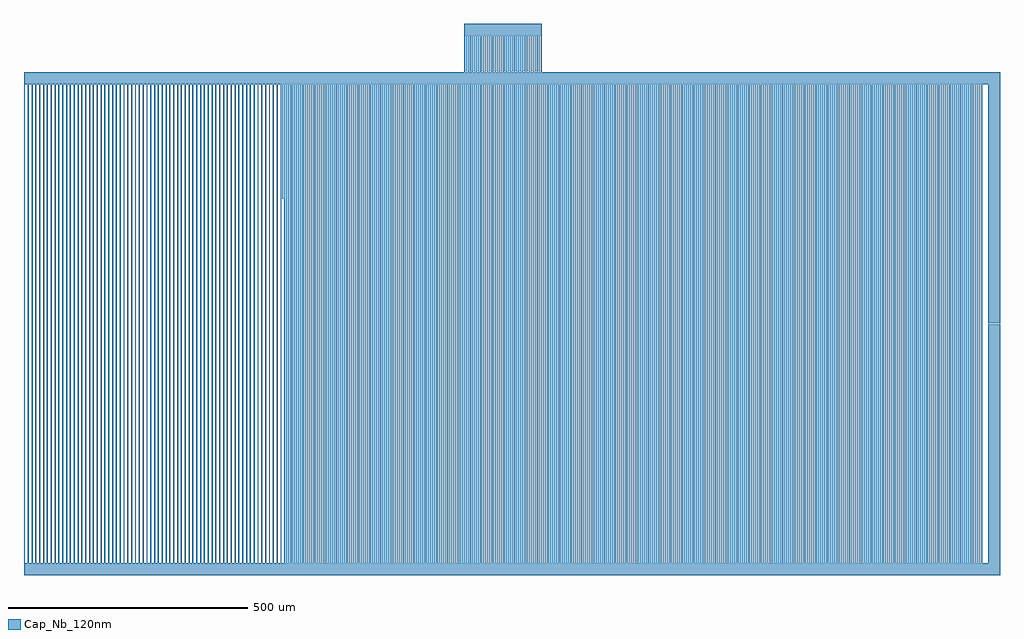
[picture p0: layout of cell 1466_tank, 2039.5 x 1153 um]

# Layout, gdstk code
import gdstk
lib = gdstk.Library(unit=1e-6, precision=1e-09)
def P(c, l, *ps):  # polygons
    for p in ps: c.add(gdstk.Polygon(p, *l))
Cap_Nb_120nm = (6, 0)

c_1466_tank = lib.new_cell('1466_tank')
P(c_1466_tank, Cap_Nb_120nm, [(-146,4476.75),(-146,4551.75),(-150,4551.75),(-150,4576.75),(12,4576.75),(12,4551.75),(8,4551.75),(8,4476.75),(6,4476.75),(6,4551.75),(0,4551.75),(0,4476.75),(-2,4476.75),(-2,4551.75),(-8,4551.75),(-8,4476.75),(-10,4476.75),(-10,4551.75),(-16,4551.75),(-16,4476.75),(-18,4476.75),(-18,4551.75),(-24,4551.75),(-24,4476.75),(-26,4476.75),(-26,4551.75),(-32,4551.75),(-32,4476.75),(-34,4476.75),(-34,4551.75),(-40,4551.75),(-40,4476.75),(-42,4476.75),(-42,4551.75),(-48,4551.75),(-48,4476.75),(-50,4476.75),(-50,4551.75),(-56,4551.75),(-56,4476.75),(-58,4476.75),(-58,4551.75),(-64,4551.75),(-64,4476.75),(-66,4476.75),(-66,4551.75),(-72,4551.75),(-72,4476.75),(-74,4476.75),(-74,4551.75),(-80,4551.75),(-80,4476.75),(-82,4476.75),(-82,4551.75),(-88,4551.75),(-88,4476.75),(-90,4476.75),(-90,4551.75),(-96,4551.75),(-96,4476.75),(-98,4476.75),(-98,4551.75),(-104,4551.75),(-104,4476.75),(-106,4476.75),(-106,4551.75),(-112,4551.75),(-112,4476.75),(-114,4476.75),(-114,4551.75),(-120,4551.75),(-120,4476.75),(-122,4476.75),(-122,4551.75),(-128,4551.75),(-128,4476.75),(-130,4476.75),(-130,4551.75),(-136,4551.75),(-136,4476.75),(-138,4476.75),(-138,4551.75),(-144,4551.75),(-144,4476.75)],
  [(-522,3450.25),(-522,4450.25),(-528,4450.25),(-528,4211.139),(-530,4211.139),(-530,4450.25),(-1070,4450.25),(-1070,4475.25),(-330,4475.25),(-330,4450.25),(-336,4450.25),(-336,3450.25),(-338,3450.25),(-338,4450.25),(-344,4450.25),(-344,3450.25),(-346,3450.25),(-346,4450.25),(-352,4450.25),(-352,3450.25),(-354,3450.25),(-354,4450.25),(-360,4450.25),(-360,3450.25),(-362,3450.25),(-362,4450.25),(-368,4450.25),(-368,3450.25),(-370,3450.25),(-370,4450.25),(-376,4450.25),(-376,3450.25),(-378,3450.25),(-378,4450.25),(-384,4450.25),(-384,3450.25),(-386,3450.25),(-386,4450.25),(-392,4450.25),(-392,3450.25),(-394,3450.25),(-394,4450.25),(-400,4450.25),(-400,3450.25),(-402,3450.25),(-402,4450.25),(-408,4450.25),(-408,3450.25),(-410,3450.25),(-410,4450.25),(-416,4450.25),(-416,3450.25),(-418,3450.25),(-418,4450.25),(-424,4450.25),(-424,3450.25),(-426,3450.25),(-426,4450.25),(-432,4450.25),(-432,3450.25),(-434,3450.25),(-434,4450.25),(-440,4450.25),(-440,3450.25),(-442,3450.25),(-442,4450.25),(-448,4450.25),(-448,3450.25),(-450,3450.25),(-450,4450.25),(-456,4450.25),(-456,3450.25),(-458,3450.25),(-458,4450.25),(-464,4450.25),(-464,3450.25),(-466,3450.25),(-466,4450.25),(-472,4450.25),(-472,3450.25),(-474,3450.25),(-474,4450.25),(-480,4450.25),(-480,3450.25),(-482,3450.25),(-482,4450.25),(-488,4450.25),(-488,3450.25),(-490,3450.25),(-490,4450.25),(-496,4450.25),(-496,3450.25),(-498,3450.25),(-498,4450.25),(-504,4450.25),(-504,3450.25),(-506,3450.25),(-506,4450.25),(-512,4450.25),(-512,3450.25),(-514,3450.25),(-514,4450.25),(-520,4450.25),(-520,3450.25)],
  [(-330,3450.25),(-330,4475.25),(-150,4475.25),(-150,4550.25),(-148,4550.25),(-148,4475.25),(-142,4475.25),(-142,4550.25),(-140,4550.25),(-140,4450.25),(-144,4450.25),(-144,3450.25),(-146,3450.25),(-146,4450.25),(-152,4450.25),(-152,3450.25),(-154,3450.25),(-154,4450.25),(-160,4450.25),(-160,3450.25),(-162,3450.25),(-162,4450.25),(-168,4450.25),(-168,3450.25),(-170,3450.25),(-170,4450.25),(-176,4450.25),(-176,3450.25),(-178,3450.25),(-178,4450.25),(-184,4450.25),(-184,3450.25),(-186,3450.25),(-186,4450.25),(-192,4450.25),(-192,3450.25),(-194,3450.25),(-194,4450.25),(-200,4450.25),(-200,3450.25),(-202,3450.25),(-202,4450.25),(-208,4450.25),(-208,3450.25),(-210,3450.25),(-210,4450.25),(-216,4450.25),(-216,3450.25),(-218,3450.25),(-218,4450.25),(-224,4450.25),(-224,3450.25),(-226,3450.25),(-226,4450.25),(-232,4450.25),(-232,3450.25),(-234,3450.25),(-234,4450.25),(-240,4450.25),(-240,3450.25),(-242,3450.25),(-242,4450.25),(-248,4450.25),(-248,3450.25),(-250,3450.25),(-250,4450.25),(-256,4450.25),(-256,3450.25),(-258,3450.25),(-258,4450.25),(-264,4450.25),(-264,3450.25),(-266,3450.25),(-266,4450.25),(-272,4450.25),(-272,3450.25),(-274,3450.25),(-274,4450.25),(-280,4450.25),(-280,3450.25),(-282,3450.25),(-282,4450.25),(-288,4450.25),(-288,3450.25),(-290,3450.25),(-290,4450.25),(-296,4450.25),(-296,3450.25),(-298,3450.25),(-298,4450.25),(-304,4450.25),(-304,3450.25),(-306,3450.25),(-306,4450.25),(-312,4450.25),(-312,3450.25),(-314,3450.25),(-314,4450.25),(-320,4450.25),(-320,3450.25),(-322,3450.25),(-322,4450.25),(-328,4450.25),(-328,3450.25)],
  [(-138,3450.25),(-138,4450.25),(-140,4450.25),(-140,4475.25),(-134,4475.25),(-134,4550.25),(-132,4550.25),(-132,4475.25),(-126,4475.25),(-126,4550.25),(-124,4550.25),(-124,4475.25),(-118,4475.25),(-118,4550.25),(-116,4550.25),(-116,4475.25),(-110,4475.25),(-110,4550.25),(-108,4550.25),(-108,4475.25),(-102,4475.25),(-102,4550.25),(-100,4550.25),(-100,4475.25),(-94,4475.25),(-94,4550.25),(-92,4550.25),(-92,4475.25),(-86,4475.25),(-86,4550.25),(-84,4550.25),(-84,4475.25),(-78,4475.25),(-78,4550.25),(-76,4550.25),(-76,4475.25),(-70,4475.25),(-70,4550.25),(-68,4550.25),(-68,4475.25),(-62,4475.25),(-62,4550.25),(-60,4550.25),(-60,4475.25),(-54,4475.25),(-54,4550.25),(-52,4550.25),(-52,4475.25),(-46,4475.25),(-46,4550.25),(-44,4550.25),(-44,4475.25),(-38,4475.25),(-38,4450.25),(-40,4450.25),(-40,3450.25),(-42,3450.25),(-42,4450.25),(-48,4450.25),(-48,3450.25),(-50,3450.25),(-50,4450.25),(-56,4450.25),(-56,3450.25),(-58,3450.25),(-58,4450.25),(-64,4450.25),(-64,3450.25),(-66,3450.25),(-66,4450.25),(-72,4450.25),(-72,3450.25),(-74,3450.25),(-74,4450.25),(-80,4450.25),(-80,3450.25),(-82,3450.25),(-82,4450.25),(-88,4450.25),(-88,3450.25),(-90,3450.25),(-90,4450.25),(-96,4450.25),(-96,3450.25),(-98,3450.25),(-98,4450.25),(-104,4450.25),(-104,3450.25),(-106,3450.25),(-106,4450.25),(-112,4450.25),(-112,3450.25),(-114,3450.25),(-114,4450.25),(-120,4450.25),(-120,3450.25),(-122,3450.25),(-122,4450.25),(-128,4450.25),(-128,3450.25),(-130,3450.25),(-130,4450.25),(-136,4450.25),(-136,3450.25)],
  [(-34,3450.25),(-34,4450.25),(-38,4450.25),(-38,4550.25),(-36,4550.25),(-36,4475.25),(-30,4475.25),(-30,4550.25),(-28,4550.25),(-28,4475.25),(-22,4475.25),(-22,4550.25),(-20,4550.25),(-20,4475.25),(-14,4475.25),(-14,4550.25),(-12,4550.25),(-12,4475.25),(-6,4475.25),(-6,4550.25),(-4,4550.25),(-4,4475.25),(2,4475.25),(2,4550.25),(4,4550.25),(4,4475.25),(10,4475.25),(10,4550.25),(12,4550.25),(12,4475.25),(118,4475.25),(118,4450.25),(112,4450.25),(112,3450.25),(110,3450.25),(110,4450.25),(104,4450.25),(104,3450.25),(102,3450.25),(102,4450.25),(96,4450.25),(96,3450.25),(94,3450.25),(94,4450.25),(88,4450.25),(88,3450.25),(86,3450.25),(86,4450.25),(80,4450.25),(80,3450.25),(78,3450.25),(78,4450.25),(72,4450.25),(72,3450.25),(70,3450.25),(70,4450.25),(64,4450.25),(64,3450.25),(62,3450.25),(62,4450.25),(56,4450.25),(56,3450.25),(54,3450.25),(54,4450.25),(48,4450.25),(48,3450.25),(46,3450.25),(46,4450.25),(40,4450.25),(40,3450.25),(38,3450.25),(38,4450.25),(32,4450.25),(32,3450.25),(30,3450.25),(30,4450.25),(24,4450.25),(24,3450.25),(22,3450.25),(22,4450.25),(16,4450.25),(16,3450.25),(14,3450.25),(14,4450.25),(8,4450.25),(8,3450.25),(6,3450.25),(6,4450.25),(0,4450.25),(0,3450.25),(-2,3450.25),(-2,4450.25),(-8,4450.25),(-8,3450.25),(-10,3450.25),(-10,4450.25),(-16,4450.25),(-16,3450.25),(-18,3450.25),(-18,4450.25),(-24,4450.25),(-24,3450.25),(-26,3450.25),(-26,4450.25),(-32,4450.25),(-32,3450.25)],
  [(118,3450.25),(118,4475.25),(320,4475.25),(320,3450.25),(318,3450.25),(318,4450.25),(312,4450.25),(312,3450.25),(310,3450.25),(310,4450.25),(304,4450.25),(304,3450.25),(302,3450.25),(302,4450.25),(296,4450.25),(296,3450.25),(294,3450.25),(294,4450.25),(288,4450.25),(288,3450.25),(286,3450.25),(286,4450.25),(280,4450.25),(280,3450.25),(278,3450.25),(278,4450.25),(272,4450.25),(272,3450.25),(270,3450.25),(270,4450.25),(264,4450.25),(264,3450.25),(262,3450.25),(262,4450.25),(256,4450.25),(256,3450.25),(254,3450.25),(254,4450.25),(248,4450.25),(248,3450.25),(246,3450.25),(246,4450.25),(240,4450.25),(240,3450.25),(238,3450.25),(238,4450.25),(232,4450.25),(232,3450.25),(230,3450.25),(230,4450.25),(224,4450.25),(224,3450.25),(222,3450.25),(222,4450.25),(216,4450.25),(216,3450.25),(214,3450.25),(214,4450.25),(208,4450.25),(208,3450.25),(206,3450.25),(206,4450.25),(200,4450.25),(200,3450.25),(198,3450.25),(198,4450.25),(192,4450.25),(192,3450.25),(190,3450.25),(190,4450.25),(184,4450.25),(184,3450.25),(182,3450.25),(182,4450.25),(176,4450.25),(176,3450.25),(174,3450.25),(174,4450.25),(168,4450.25),(168,3450.25),(166,3450.25),(166,4450.25),(160,4450.25),(160,3450.25),(158,3450.25),(158,4450.25),(152,4450.25),(152,3450.25),(150,3450.25),(150,4450.25),(144,4450.25),(144,3450.25),(142,3450.25),(142,4450.25),(136,4450.25),(136,3450.25),(134,3450.25),(134,4450.25),(128,4450.25),(128,3450.25),(126,3450.25),(126,4450.25),(120,4450.25),(120,3450.25)],
  [(326,3450.25),(326,4450.25),(320,4450.25),(320,4475.25),(526,4475.25),(526,4450.25),(520,4450.25),(520,3450.25),(518,3450.25),(518,4450.25),(512,4450.25),(512,3450.25),(510,3450.25),(510,4450.25),(504,4450.25),(504,3450.25),(502,3450.25),(502,4450.25),(496,4450.25),(496,3450.25),(494,3450.25),(494,4450.25),(488,4450.25),(488,3450.25),(486,3450.25),(486,4450.25),(480,4450.25),(480,3450.25),(478,3450.25),(478,4450.25),(472,4450.25),(472,3450.25),(470,3450.25),(470,4450.25),(464,4450.25),(464,3450.25),(462,3450.25),(462,4450.25),(456,4450.25),(456,3450.25),(454,3450.25),(454,4450.25),(448,4450.25),(448,3450.25),(446,3450.25),(446,4450.25),(440,4450.25),(440,3450.25),(438,3450.25),(438,4450.25),(432,4450.25),(432,3450.25),(430,3450.25),(430,4450.25),(424,4450.25),(424,3450.25),(422,3450.25),(422,4450.25),(416,4450.25),(416,3450.25),(414,3450.25),(414,4450.25),(408,4450.25),(408,3450.25),(406,3450.25),(406,4450.25),(400,4450.25),(400,3450.25),(398,3450.25),(398,4450.25),(392,4450.25),(392,3450.25),(390,3450.25),(390,4450.25),(384,4450.25),(384,3450.25),(382,3450.25),(382,4450.25),(376,4450.25),(376,3450.25),(374,3450.25),(374,4450.25),(368,4450.25),(368,3450.25),(366,3450.25),(366,4450.25),(360,4450.25),(360,3450.25),(358,3450.25),(358,4450.25),(352,4450.25),(352,3450.25),(350,3450.25),(350,4450.25),(344,4450.25),(344,3450.25),(342,3450.25),(342,4450.25),(336,4450.25),(336,3450.25),(334,3450.25),(334,4450.25),(328,4450.25),(328,3450.25)],
  [(526,3450.25),(526,4475.25),(728,4475.25),(728,3450.25),(726,3450.25),(726,4450.25),(720,4450.25),(720,3450.25),(718,3450.25),(718,4450.25),(712,4450.25),(712,3450.25),(710,3450.25),(710,4450.25),(704,4450.25),(704,3450.25),(702,3450.25),(702,4450.25),(696,4450.25),(696,3450.25),(694,3450.25),(694,4450.25),(688,4450.25),(688,3450.25),(686,3450.25),(686,4450.25),(680,4450.25),(680,3450.25),(678,3450.25),(678,4450.25),(672,4450.25),(672,3450.25),(670,3450.25),(670,4450.25),(664,4450.25),(664,3450.25),(662,3450.25),(662,4450.25),(656,4450.25),(656,3450.25),(654,3450.25),(654,4450.25),(648,4450.25),(648,3450.25),(646,3450.25),(646,4450.25),(640,4450.25),(640,3450.25),(638,3450.25),(638,4450.25),(632,4450.25),(632,3450.25),(630,3450.25),(630,4450.25),(624,4450.25),(624,3450.25),(622,3450.25),(622,4450.25),(616,4450.25),(616,3450.25),(614,3450.25),(614,4450.25),(608,4450.25),(608,3450.25),(606,3450.25),(606,4450.25),(600,4450.25),(600,3450.25),(598,3450.25),(598,4450.25),(592,4450.25),(592,3450.25),(590,3450.25),(590,4450.25),(584,4450.25),(584,3450.25),(582,3450.25),(582,4450.25),(576,4450.25),(576,3450.25),(574,3450.25),(574,4450.25),(568,4450.25),(568,3450.25),(566,3450.25),(566,4450.25),(560,4450.25),(560,3450.25),(558,3450.25),(558,4450.25),(552,4450.25),(552,3450.25),(550,3450.25),(550,4450.25),(544,4450.25),(544,3450.25),(542,3450.25),(542,4450.25),(536,4450.25),(536,3450.25),(534,3450.25),(534,4450.25),(528,4450.25),(528,3450.25)],
  [(734,3450.25),(734,4450.25),(728,4450.25),(728,4475.25),(969.5,4475.25),(969.5,3950.5),(944.5,3950.5),(944.5,4450.25),(928,4450.25),(928,3450.25),(926,3450.25),(926,4450.25),(920,4450.25),(920,3450.25),(918,3450.25),(918,4450.25),(912,4450.25),(912,3450.25),(910,3450.25),(910,4450.25),(904,4450.25),(904,3450.25),(902,3450.25),(902,4450.25),(896,4450.25),(896,3450.25),(894,3450.25),(894,4450.25),(888,4450.25),(888,3450.25),(886,3450.25),(886,4450.25),(880,4450.25),(880,3450.25),(878,3450.25),(878,4450.25),(872,4450.25),(872,3450.25),(870,3450.25),(870,4450.25),(864,4450.25),(864,3450.25),(862,3450.25),(862,4450.25),(856,4450.25),(856,3450.25),(854,3450.25),(854,4450.25),(848,4450.25),(848,3450.25),(846,3450.25),(846,4450.25),(840,4450.25),(840,3450.25),(838,3450.25),(838,4450.25),(832,4450.25),(832,3450.25),(830,3450.25),(830,4450.25),(824,4450.25),(824,3450.25),(822,3450.25),(822,4450.25),(816,4450.25),(816,3450.25),(814,3450.25),(814,4450.25),(808,4450.25),(808,3450.25),(806,3450.25),(806,4450.25),(800,4450.25),(800,3450.25),(798,3450.25),(798,4450.25),(792,4450.25),(792,3450.25),(790,3450.25),(790,4450.25),(784,4450.25),(784,3450.25),(782,3450.25),(782,4450.25),(776,4450.25),(776,3450.25),(774,3450.25),(774,4450.25),(768,4450.25),(768,3450.25),(766,3450.25),(766,4450.25),(760,4450.25),(760,3450.25),(758,3450.25),(758,4450.25),(752,4450.25),(752,3450.25),(750,3450.25),(750,4450.25),(744,4450.25),(744,3450.25),(742,3450.25),(742,4450.25),(736,4450.25),(736,3450.25)],
  [(-1070,3423.75),(-1070,4448.75),(-1068,4448.75),(-1068,3448.75),(-1062,3448.75),(-1062,4448.75),(-1060,4448.75),(-1060,3448.75),(-1054,3448.75),(-1054,4448.75),(-1052,4448.75),(-1052,3448.75),(-1046,3448.75),(-1046,4448.75),(-1044,4448.75),(-1044,3448.75),(-1038,3448.75),(-1038,4448.75),(-1036,4448.75),(-1036,3448.75),(-1030,3448.75),(-1030,4448.75),(-1028,4448.75),(-1028,3448.75),(-1022,3448.75),(-1022,4448.75),(-1020,4448.75),(-1020,3448.75),(-1014,3448.75),(-1014,4448.75),(-1012,4448.75),(-1012,3448.75),(-1006,3448.75),(-1006,4448.75),(-1004,4448.75),(-1004,3448.75),(-998,3448.75),(-998,4448.75),(-996,4448.75),(-996,3448.75),(-990,3448.75),(-990,4448.75),(-988,4448.75),(-988,3448.75),(-982,3448.75),(-982,4448.75),(-980,4448.75),(-980,3448.75),(-974,3448.75),(-974,4448.75),(-972,4448.75),(-972,3448.75),(-966,3448.75),(-966,4448.75),(-964,4448.75),(-964,3448.75),(-958,3448.75),(-958,4448.75),(-956,4448.75),(-956,3448.75),(-950,3448.75),(-950,4448.75),(-948,4448.75),(-948,3448.75),(-942,3448.75),(-942,4448.75),(-940,4448.75),(-940,3448.75),(-934,3448.75),(-934,4448.75),(-932,4448.75),(-932,3448.75),(-926,3448.75),(-926,4448.75),(-924,4448.75),(-924,3448.75),(-918,3448.75),(-918,4448.75),(-916,4448.75),(-916,3448.75),(-910,3448.75),(-910,4448.75),(-908,4448.75),(-908,3448.75),(-902,3448.75),(-902,4448.75),(-900,4448.75),(-900,3448.75),(-894,3448.75),(-894,4448.75),(-892,4448.75),(-892,3448.75),(-886,3448.75),(-886,4448.75),(-884,4448.75),(-884,3448.75),(-878,3448.75),(-878,4448.75),(-876,4448.75),(-876,3448.75),(-870,3448.75),(-870,4448.75),(-868,4448.75),(-868,3448.75),(-862,3448.75),(-862,4448.75),(-860,4448.75),(-860,3448.75),(-854,3448.75),(-854,4448.75),(-852,4448.75),(-852,3448.75),(-846,3448.75),(-846,4448.75),(-844,4448.75),(-844,3448.75),(-838,3448.75),(-838,4448.75),(-836,4448.75),(-836,3448.75),(-830,3448.75),(-830,4448.75),(-828,4448.75),(-828,3448.75),(-822,3448.75),(-822,3423.75)],
  [(-822,3423.75),(-822,4448.75),(-820,4448.75),(-820,3448.75),(-814,3448.75),(-814,4448.75),(-812,4448.75),(-812,3448.75),(-806,3448.75),(-806,4448.75),(-804,4448.75),(-804,3448.75),(-798,3448.75),(-798,4448.75),(-796,4448.75),(-796,3448.75),(-790,3448.75),(-790,4448.75),(-788,4448.75),(-788,3448.75),(-782,3448.75),(-782,4448.75),(-780,4448.75),(-780,3448.75),(-774,3448.75),(-774,4448.75),(-772,4448.75),(-772,3448.75),(-766,3448.75),(-766,4448.75),(-764,4448.75),(-764,3448.75),(-758,3448.75),(-758,4448.75),(-756,4448.75),(-756,3448.75),(-750,3448.75),(-750,4448.75),(-748,4448.75),(-748,3448.75),(-742,3448.75),(-742,4448.75),(-740,4448.75),(-740,3448.75),(-734,3448.75),(-734,4448.75),(-732,4448.75),(-732,3448.75),(-726,3448.75),(-726,4448.75),(-724,4448.75),(-724,3448.75),(-718,3448.75),(-718,4448.75),(-716,4448.75),(-716,3448.75),(-710,3448.75),(-710,4448.75),(-708,4448.75),(-708,3448.75),(-702,3448.75),(-702,4448.75),(-700,4448.75),(-700,3448.75),(-694,3448.75),(-694,4448.75),(-692,4448.75),(-692,3448.75),(-686,3448.75),(-686,4448.75),(-684,4448.75),(-684,3448.75),(-678,3448.75),(-678,4448.75),(-676,4448.75),(-676,3448.75),(-670,3448.75),(-670,4448.75),(-668,4448.75),(-668,3448.75),(-662,3448.75),(-662,4448.75),(-660,4448.75),(-660,3448.75),(-654,3448.75),(-654,4448.75),(-652,4448.75),(-652,3448.75),(-646,3448.75),(-646,4448.75),(-644,4448.75),(-644,3448.75),(-638,3448.75),(-638,4448.75),(-636,4448.75),(-636,3448.75),(-630,3448.75),(-630,4448.75),(-628,4448.75),(-628,3448.75),(-622,3448.75),(-622,4448.75),(-620,4448.75),(-620,3448.75),(-614,3448.75),(-614,4448.75),(-612,4448.75),(-612,3448.75),(-606,3448.75),(-606,4448.75),(-604,4448.75),(-604,3448.75),(-598,3448.75),(-598,4448.75),(-596,4448.75),(-596,3448.75),(-590,3448.75),(-590,4448.75),(-588,4448.75),(-588,3448.75),(-582,3448.75),(-582,4448.75),(-580,4448.75),(-580,3448.75),(-574,3448.75),(-574,4448.75),(-572,4448.75),(-572,3423.75)],
  [(-572,3423.75),(-572,3448.75),(-566,3448.75),(-566,4448.75),(-564,4448.75),(-564,3448.75),(-558,3448.75),(-558,4448.75),(-556,4448.75),(-556,3448.75),(-550,3448.75),(-550,4448.75),(-548,4448.75),(-548,3448.75),(-542,3448.75),(-542,4448.75),(-540,4448.75),(-540,3448.75),(-534,3448.75),(-534,4448.75),(-532,4448.75),(-532,3448.75),(-526,3448.75),(-526,4448.75),(-524,4448.75),(-524,3448.75),(-518,3448.75),(-518,4448.75),(-516,4448.75),(-516,3448.75),(-510,3448.75),(-510,4448.75),(-508,4448.75),(-508,3448.75),(-502,3448.75),(-502,4448.75),(-500,4448.75),(-500,3448.75),(-494,3448.75),(-494,4448.75),(-492,4448.75),(-492,3448.75),(-486,3448.75),(-486,4448.75),(-484,4448.75),(-484,3448.75),(-478,3448.75),(-478,4448.75),(-476,4448.75),(-476,3448.75),(-470,3448.75),(-470,4448.75),(-468,4448.75),(-468,3448.75),(-462,3448.75),(-462,4448.75),(-460,4448.75),(-460,3448.75),(-454,3448.75),(-454,4448.75),(-452,4448.75),(-452,3448.75),(-446,3448.75),(-446,4448.75),(-444,4448.75),(-444,3448.75),(-438,3448.75),(-438,4448.75),(-436,4448.75),(-436,3448.75),(-430,3448.75),(-430,4448.75),(-428,4448.75),(-428,3448.75),(-422,3448.75),(-422,4448.75),(-420,4448.75),(-420,3448.75),(-414,3448.75),(-414,4448.75),(-412,4448.75),(-412,3448.75),(-406,3448.75),(-406,4448.75),(-404,4448.75),(-404,3448.75),(-398,3448.75),(-398,4448.75),(-396,4448.75),(-396,3448.75),(-390,3448.75),(-390,4448.75),(-388,4448.75),(-388,3448.75),(-382,3448.75),(-382,4448.75),(-380,4448.75),(-380,3448.75),(-374,3448.75),(-374,4448.75),(-372,4448.75),(-372,3448.75),(-366,3448.75),(-366,4448.75),(-364,4448.75),(-364,3448.75),(-358,3448.75),(-358,4448.75),(-356,4448.75),(-356,3448.75),(-350,3448.75),(-350,4448.75),(-348,4448.75),(-348,3448.75),(-342,3448.75),(-342,4448.75),(-340,4448.75),(-340,3448.75),(-334,3448.75),(-334,4448.75),(-332,4448.75),(-332,3448.75),(-326,3448.75),(-326,4448.75),(-324,4448.75),(-324,3448.75),(-318,3448.75),(-318,3423.75)],
  [(-318,3423.75),(-318,4448.75),(-316,4448.75),(-316,3448.75),(-310,3448.75),(-310,4448.75),(-308,4448.75),(-308,3448.75),(-302,3448.75),(-302,4448.75),(-300,4448.75),(-300,3448.75),(-294,3448.75),(-294,4448.75),(-292,4448.75),(-292,3448.75),(-286,3448.75),(-286,4448.75),(-284,4448.75),(-284,3448.75),(-278,3448.75),(-278,4448.75),(-276,4448.75),(-276,3448.75),(-270,3448.75),(-270,4448.75),(-268,4448.75),(-268,3448.75),(-262,3448.75),(-262,4448.75),(-260,4448.75),(-260,3448.75),(-254,3448.75),(-254,4448.75),(-252,4448.75),(-252,3448.75),(-246,3448.75),(-246,4448.75),(-244,4448.75),(-244,3448.75),(-238,3448.75),(-238,4448.75),(-236,4448.75),(-236,3448.75),(-230,3448.75),(-230,4448.75),(-228,4448.75),(-228,3448.75),(-222,3448.75),(-222,4448.75),(-220,4448.75),(-220,3448.75),(-214,3448.75),(-214,4448.75),(-212,4448.75),(-212,3448.75),(-206,3448.75),(-206,4448.75),(-204,4448.75),(-204,3448.75),(-198,3448.75),(-198,4448.75),(-196,4448.75),(-196,3448.75),(-190,3448.75),(-190,4448.75),(-188,4448.75),(-188,3448.75),(-182,3448.75),(-182,4448.75),(-180,4448.75),(-180,3448.75),(-174,3448.75),(-174,4448.75),(-172,4448.75),(-172,3448.75),(-166,3448.75),(-166,4448.75),(-164,4448.75),(-164,3448.75),(-158,3448.75),(-158,4448.75),(-156,4448.75),(-156,3448.75),(-150,3448.75),(-150,4448.75),(-148,4448.75),(-148,3448.75),(-142,3448.75),(-142,4448.75),(-140,4448.75),(-140,3448.75),(-134,3448.75),(-134,4448.75),(-132,4448.75),(-132,3448.75),(-126,3448.75),(-126,4448.75),(-124,4448.75),(-124,3448.75),(-118,3448.75),(-118,4448.75),(-116,4448.75),(-116,3448.75),(-110,3448.75),(-110,4448.75),(-108,4448.75),(-108,3448.75),(-102,3448.75),(-102,4448.75),(-100,4448.75),(-100,3448.75),(-94,3448.75),(-94,4448.75),(-92,4448.75),(-92,3448.75),(-86,3448.75),(-86,4448.75),(-84,4448.75),(-84,3448.75),(-78,3448.75),(-78,4448.75),(-76,4448.75),(-76,3448.75),(-70,3448.75),(-70,4448.75),(-68,4448.75),(-68,3423.75)],
  [(-68,3423.75),(-68,3448.75),(-62,3448.75),(-62,4448.75),(-60,4448.75),(-60,3448.75),(-54,3448.75),(-54,4448.75),(-52,4448.75),(-52,3448.75),(-46,3448.75),(-46,4448.75),(-44,4448.75),(-44,3448.75),(-38,3448.75),(-38,4448.75),(-36,4448.75),(-36,3448.75),(-30,3448.75),(-30,4448.75),(-28,4448.75),(-28,3448.75),(-22,3448.75),(-22,4448.75),(-20,4448.75),(-20,3448.75),(-14,3448.75),(-14,4448.75),(-12,4448.75),(-12,3448.75),(-6,3448.75),(-6,4448.75),(-4,4448.75),(-4,3448.75),(2,3448.75),(2,4448.75),(4,4448.75),(4,3448.75),(10,3448.75),(10,4448.75),(12,4448.75),(12,3448.75),(18,3448.75),(18,4448.75),(20,4448.75),(20,3448.75),(26,3448.75),(26,4448.75),(28,4448.75),(28,3448.75),(34,3448.75),(34,4448.75),(36,4448.75),(36,3448.75),(42,3448.75),(42,4448.75),(44,4448.75),(44,3448.75),(50,3448.75),(50,4448.75),(52,4448.75),(52,3448.75),(58,3448.75),(58,4448.75),(60,4448.75),(60,3448.75),(66,3448.75),(66,4448.75),(68,4448.75),(68,3448.75),(74,3448.75),(74,4448.75),(76,4448.75),(76,3448.75),(82,3448.75),(82,4448.75),(84,4448.75),(84,3448.75),(90,3448.75),(90,4448.75),(92,4448.75),(92,3448.75),(98,3448.75),(98,4448.75),(100,4448.75),(100,3448.75),(106,3448.75),(106,4448.75),(108,4448.75),(108,3448.75),(114,3448.75),(114,4448.75),(116,4448.75),(116,3448.75),(122,3448.75),(122,4448.75),(124,4448.75),(124,3448.75),(130,3448.75),(130,4448.75),(132,4448.75),(132,3448.75),(138,3448.75),(138,4448.75),(140,4448.75),(140,3448.75),(146,3448.75),(146,4448.75),(148,4448.75),(148,3448.75),(154,3448.75),(154,4448.75),(156,4448.75),(156,3448.75),(162,3448.75),(162,4448.75),(164,4448.75),(164,3448.75),(170,3448.75),(170,4448.75),(172,4448.75),(172,3448.75),(178,3448.75),(178,4448.75),(180,4448.75),(180,3448.75),(186,3448.75),(186,3423.75)],
  [(186,3423.75),(186,4448.75),(188,4448.75),(188,3448.75),(194,3448.75),(194,4448.75),(196,4448.75),(196,3448.75),(202,3448.75),(202,4448.75),(204,4448.75),(204,3448.75),(210,3448.75),(210,4448.75),(212,4448.75),(212,3448.75),(218,3448.75),(218,4448.75),(220,4448.75),(220,3448.75),(226,3448.75),(226,4448.75),(228,4448.75),(228,3448.75),(234,3448.75),(234,4448.75),(236,4448.75),(236,3448.75),(242,3448.75),(242,4448.75),(244,4448.75),(244,3448.75),(250,3448.75),(250,4448.75),(252,4448.75),(252,3448.75),(258,3448.75),(258,4448.75),(260,4448.75),(260,3448.75),(266,3448.75),(266,4448.75),(268,4448.75),(268,3448.75),(274,3448.75),(274,4448.75),(276,4448.75),(276,3448.75),(282,3448.75),(282,4448.75),(284,4448.75),(284,3448.75),(290,3448.75),(290,4448.75),(292,4448.75),(292,3448.75),(298,3448.75),(298,4448.75),(300,4448.75),(300,3448.75),(306,3448.75),(306,4448.75),(308,4448.75),(308,3448.75),(314,3448.75),(314,4448.75),(316,4448.75),(316,3448.75),(322,3448.75),(322,4448.75),(324,4448.75),(324,3448.75),(330,3448.75),(330,4448.75),(332,4448.75),(332,3448.75),(338,3448.75),(338,4448.75),(340,4448.75),(340,3448.75),(346,3448.75),(346,4448.75),(348,4448.75),(348,3448.75),(354,3448.75),(354,4448.75),(356,4448.75),(356,3448.75),(362,3448.75),(362,4448.75),(364,4448.75),(364,3448.75),(370,3448.75),(370,4448.75),(372,4448.75),(372,3448.75),(378,3448.75),(378,4448.75),(380,4448.75),(380,3448.75),(386,3448.75),(386,4448.75),(388,4448.75),(388,3448.75),(394,3448.75),(394,4448.75),(396,4448.75),(396,3448.75),(402,3448.75),(402,4448.75),(404,4448.75),(404,3448.75),(410,3448.75),(410,4448.75),(412,4448.75),(412,3448.75),(418,3448.75),(418,4448.75),(420,4448.75),(420,3448.75),(426,3448.75),(426,4448.75),(428,4448.75),(428,3448.75),(434,3448.75),(434,4448.75),(436,4448.75),(436,3423.75)],
  [(436,3423.75),(436,3448.75),(442,3448.75),(442,4448.75),(444,4448.75),(444,3448.75),(450,3448.75),(450,4448.75),(452,4448.75),(452,3448.75),(458,3448.75),(458,4448.75),(460,4448.75),(460,3448.75),(466,3448.75),(466,4448.75),(468,4448.75),(468,3448.75),(474,3448.75),(474,4448.75),(476,4448.75),(476,3448.75),(482,3448.75),(482,4448.75),(484,4448.75),(484,3448.75),(490,3448.75),(490,4448.75),(492,4448.75),(492,3448.75),(498,3448.75),(498,4448.75),(500,4448.75),(500,3448.75),(506,3448.75),(506,4448.75),(508,4448.75),(508,3448.75),(514,3448.75),(514,4448.75),(516,4448.75),(516,3448.75),(522,3448.75),(522,4448.75),(524,4448.75),(524,3448.75),(530,3448.75),(530,4448.75),(532,4448.75),(532,3448.75),(538,3448.75),(538,4448.75),(540,4448.75),(540,3448.75),(546,3448.75),(546,4448.75),(548,4448.75),(548,3448.75),(554,3448.75),(554,4448.75),(556,4448.75),(556,3448.75),(562,3448.75),(562,4448.75),(564,4448.75),(564,3448.75),(570,3448.75),(570,4448.75),(572,4448.75),(572,3448.75),(578,3448.75),(578,4448.75),(580,4448.75),(580,3448.75),(586,3448.75),(586,4448.75),(588,4448.75),(588,3448.75),(594,3448.75),(594,4448.75),(596,4448.75),(596,3448.75),(602,3448.75),(602,4448.75),(604,4448.75),(604,3448.75),(610,3448.75),(610,4448.75),(612,4448.75),(612,3448.75),(618,3448.75),(618,4448.75),(620,4448.75),(620,3448.75),(626,3448.75),(626,4448.75),(628,4448.75),(628,3448.75),(634,3448.75),(634,4448.75),(636,4448.75),(636,3448.75),(642,3448.75),(642,4448.75),(644,4448.75),(644,3448.75),(650,3448.75),(650,4448.75),(652,4448.75),(652,3448.75),(658,3448.75),(658,4448.75),(660,4448.75),(660,3448.75),(666,3448.75),(666,4448.75),(668,4448.75),(668,3448.75),(674,3448.75),(674,4448.75),(676,4448.75),(676,3448.75),(682,3448.75),(682,4448.75),(684,4448.75),(684,3448.75),(690,3448.75),(690,3423.75)],
  [(690,3423.75),(690,4448.75),(692,4448.75),(692,3448.75),(698,3448.75),(698,4448.75),(700,4448.75),(700,3448.75),(706,3448.75),(706,4448.75),(708,4448.75),(708,3448.75),(714,3448.75),(714,4448.75),(716,4448.75),(716,3448.75),(722,3448.75),(722,4448.75),(724,4448.75),(724,3448.75),(730,3448.75),(730,4448.75),(732,4448.75),(732,3448.75),(738,3448.75),(738,4448.75),(740,4448.75),(740,3448.75),(746,3448.75),(746,4448.75),(748,4448.75),(748,3448.75),(754,3448.75),(754,4448.75),(756,4448.75),(756,3448.75),(762,3448.75),(762,4448.75),(764,4448.75),(764,3448.75),(770,3448.75),(770,4448.75),(772,4448.75),(772,3448.75),(778,3448.75),(778,4448.75),(780,4448.75),(780,3448.75),(786,3448.75),(786,4448.75),(788,4448.75),(788,3448.75),(794,3448.75),(794,4448.75),(796,4448.75),(796,3448.75),(802,3448.75),(802,4448.75),(804,4448.75),(804,3448.75),(810,3448.75),(810,4448.75),(812,4448.75),(812,3448.75),(818,3448.75),(818,4448.75),(820,4448.75),(820,3448.75),(826,3448.75),(826,4448.75),(828,4448.75),(828,3448.75),(834,3448.75),(834,4448.75),(836,4448.75),(836,3448.75),(842,3448.75),(842,4448.75),(844,4448.75),(844,3448.75),(850,3448.75),(850,4448.75),(852,4448.75),(852,3448.75),(858,3448.75),(858,4448.75),(860,4448.75),(860,3448.75),(866,3448.75),(866,4448.75),(868,4448.75),(868,3448.75),(874,3448.75),(874,4448.75),(876,4448.75),(876,3448.75),(882,3448.75),(882,4448.75),(884,4448.75),(884,3448.75),(890,3448.75),(890,4448.75),(892,4448.75),(892,3448.75),(898,3448.75),(898,4448.75),(900,4448.75),(900,3448.75),(906,3448.75),(906,4448.75),(908,4448.75),(908,3448.75),(914,3448.75),(914,4448.75),(916,4448.75),(916,3448.75),(922,3448.75),(922,4448.75),(924,4448.75),(924,3448.75),(930,3448.75),(930,4448.75),(932,4448.75),(932,3448.75),(944.5,3448.75),(944.5,3948.5),(969.5,3948.5),(969.5,3423.75)])

lib.write_gds('1466_tank.gds')
